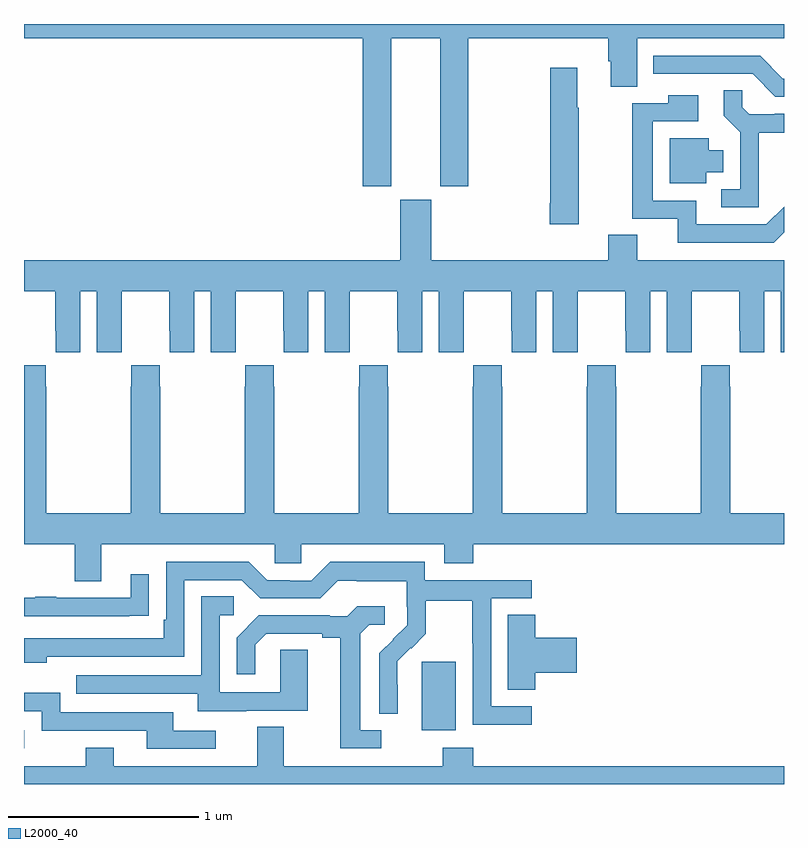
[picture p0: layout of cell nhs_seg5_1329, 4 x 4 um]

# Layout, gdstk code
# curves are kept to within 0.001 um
import gdstk
lib = gdstk.Library(unit=1e-6, precision=1e-09)
def R(c, l, rs):  # rectangles x0, y0, x1, y1
    for r in rs: c.add(gdstk.rectangle(r[:2], r[2:], *l))
def P(c, l, *ps):  # polygons
    for p in ps: c.add(gdstk.Polygon(p, *l))
L2000_40 = (2000, 40)

nhs_seg5_1329 = lib.new_cell('nhs_seg5_1329')
R(nhs_seg5_1329, L2000_40, [(191,888.987,191.002,889.083), (193.094,889.082,193.273,889.443)])
P(nhs_seg5_1329, L2000_40, [(192.934,892.724),(193.19,892.724),(193.19,891.945),(193.338,891.945),(193.338,892.724),(194.075,892.724),(194.075,892.602),(194.087,892.602),(194.087,892.468),(194.227,892.468),(194.227,892.724),(195,892.724),(195,892.799),(191,892.799),(191,892.724),(192.782,892.724),(192.782,891.945),(192.934,891.945)],
  [(195,892.512),(194.994,892.512),(194.874,892.632),(194.312,892.632),(194.312,892.536),(194.835,892.536),(194.955,892.416),(195,892.416)],
  [(193.92,892.357),(193.912,892.357),(193.912,892.57),(193.771,892.57),(193.771,891.856),(193.766,891.856),(193.766,891.744),(193.92,891.744)],
  [(194.867,892.226),(195,892.226),(195,892.326),(194.952,892.326),(194.952,892.323),(194.818,892.323),(194.781,892.36),(194.781,892.451),(194.683,892.451),(194.683,892.315),(194.769,892.229),(194.769,891.93),(194.67,891.93),(194.67,891.834),(194.867,891.834)],
  [(195,891.702),(195,891.837),(194.907,891.744),(194.539,891.744),(194.539,891.87),(194.31,891.87),(194.31,892.287),(194.548,892.287),(194.548,892.423),(194.392,892.423),(194.392,892.383),(194.202,892.383),(194.202,891.774),(194.441,891.774),(194.441,891.648),(194.946,891.648)],
  [(194.59,892.019),(194.68,892.019),(194.68,892.135),(194.605,892.135),(194.605,892.198),(194.399,892.198),(194.399,891.962),(194.59,891.962)],
  [(191.296,891.392),(191.384,891.392),(191.384,891.072),(191.514,891.072),(191.514,891.184),(191.515,891.184),(191.515,891.392),(191.765,891.392),(191.765,891.184),(191.766,891.184),(191.766,891.072),(191.896,891.072),(191.896,891.392),(191.984,891.392),(191.984,891.072),(192.114,891.072),(192.114,891.184),(192.115,891.184),(192.115,891.392),(192.365,891.392),(192.365,891.184),(192.366,891.184),(192.366,891.072),(192.496,891.072),(192.496,891.392),(192.584,891.392),(192.584,891.072),(192.714,891.072),(192.714,891.184),(192.715,891.184),(192.715,891.392),(192.965,891.392),(192.965,891.184),(192.966,891.184),(192.966,891.072),(193.096,891.072),(193.096,891.392),(193.184,891.392),(193.184,891.072),(193.314,891.072),(193.314,891.184),(193.315,891.184),(193.315,891.392),(193.565,891.392),(193.565,891.184),(193.566,891.184),(193.566,891.072),(193.696,891.072),(193.696,891.392),(193.784,891.392),(193.784,891.072),(193.914,891.072),(193.914,891.184),(193.915,891.184),(193.915,891.392),(194.165,891.392),(194.165,891.184),(194.166,891.184),(194.166,891.072),(194.296,891.072),(194.296,891.392),(194.384,891.392),(194.384,891.072),(194.514,891.072),(194.514,891.184),(194.515,891.184),(194.515,891.392),(194.765,891.392),(194.765,891.184),(194.766,891.184),(194.766,891.072),(194.896,891.072),(194.896,891.392),(194.984,891.392),(194.984,891.072),(195,891.072),(195,891.556),(194.227,891.556),(194.227,891.689),(194.075,891.689),(194.075,891.556),(193.144,891.556),(193.144,891.873),(192.98,891.873),(192.98,891.556),(191,891.556),(191,891.392),(191.165,891.392),(191.165,891.184),(191.166,891.184),(191.166,891.072),(191.296,891.072)],
  [(191.407,890.06),(192.321,890.06),(192.321,889.962),(192.459,889.962),(192.459,890.06),(193.211,890.06),(193.211,889.961),(193.364,889.961),(193.364,890.06),(195,890.06),(195,890.224),(194.718,890.224),(194.718,890.891),(194.715,890.891),(194.715,891.004),(194.565,891.004),(194.565,890.891),(194.563,890.891),(194.563,890.224),(194.118,890.224),(194.118,890.891),(194.115,890.891),(194.115,891.004),(193.965,891.004),(193.965,890.891),(193.963,890.891),(193.963,890.224),(193.518,890.224),(193.518,890.891),(193.515,890.891),(193.515,891.004),(193.365,891.004),(193.365,890.891),(193.363,890.891),(193.363,890.224),(192.918,890.224),(192.918,890.891),(192.915,890.891),(192.915,891.004),(192.765,891.004),(192.765,890.891),(192.763,890.891),(192.763,890.224),(192.318,890.224),(192.318,890.891),(192.315,890.891),(192.315,891.004),(192.165,891.004),(192.165,890.891),(192.163,890.891),(192.163,890.224),(191.718,890.224),(191.718,890.891),(191.715,890.891),(191.715,891.004),(191.565,891.004),(191.565,890.891),(191.563,890.891),(191.563,890.224),(191.118,890.224),(191.118,890.891),(191.115,890.891),(191.115,891.004),(191,891.004),(191,890.06),(191.267,890.06),(191.267,889.866),(191.407,889.866)],
  [(193.672,889.209),(193.458,889.209),(193.458,889.776),(193.672,889.776),(193.672,889.872),(193.11,889.872),(193.11,889.969),(192.613,889.969),(192.513,889.869),(192.398,889.869),(192.398,889.872),(192.279,889.872),(192.183,889.968),(191.748,889.968),(191.748,889.663),(191.735,889.663),(191.735,889.566),(191,889.566),(191,889.436),(191.12,889.436),(191.12,889.47),(191.844,889.47),(191.844,889.872),(192.147,889.872),(192.243,889.776),(192.558,889.776),(192.651,889.869),(192.751,889.869),(192.751,889.865),(193.014,889.865),(193.014,889.731),(193.016,889.731),(193.016,889.634),(192.87,889.486),(192.87,889.168),(192.966,889.168),(192.965,889.445),(193.035,889.515),(193.038,889.512),(193.115,889.589),(193.115,889.764),(193.36,889.764),(193.36,889.54),(193.362,889.54),(193.362,889.111),(193.672,889.111)],
  [(191.555,889.684),(191.657,889.684),(191.657,889.903),(191.561,889.903),(191.561,889.779),(191.171,889.779),(191.171,889.784),(191.059,889.784),(191.059,889.779),(191,889.779),(191,889.683),(191.555,889.683)],
  [(192.169,889.185),(192.493,889.185),(192.493,889.505),(192.348,889.505),(192.348,889.281),(192.03,889.281),(192.03,889.686),(192.103,889.686),(192.103,889.787),(191.934,889.787),(191.934,889.371),(191.275,889.371),(191.275,889.275),(191.915,889.275),(191.915,889.181),(192.169,889.181)],
  [(192.88,889.083),(192.769,889.083),(192.769,889.591),(192.816,889.638),(192.898,889.638),(192.898,889.735),(192.754,889.735),(192.702,889.683),(192.608,889.683),(192.608,889.686),(192.236,889.686),(192.12,889.57),(192.12,889.377),(192.217,889.377),(192.217,889.533),(192.274,889.59),(192.569,889.59),(192.569,889.568),(192.665,889.568),(192.665,888.987),(192.88,888.987)],
  [(193.691,889.385),(193.909,889.385),(193.909,889.568),(193.691,889.568),(193.691,889.691),(193.547,889.691),(193.547,889.294),(193.691,889.294)],
  [(192.01,889.08),(191.785,889.08),(191.785,889.176),(191.19,889.176),(191.19,889.279),(191,889.279),(191,889.182),(191.094,889.182),(191.094,889.08),(191.645,889.08),(191.645,888.984),(192.01,888.984)],
  [(195,888.892),(193.364,888.892),(193.364,888.991),(193.204,888.991),(193.204,888.892),(192.367,888.892),(192.367,889.1),(192.227,889.1),(192.227,888.892),(191.473,888.892),(191.473,888.991),(191.326,888.991),(191.326,888.892),(191,888.892),(191,888.799),(195,888.799)])

lib.write_gds('nhs_seg5_1329.gds')
